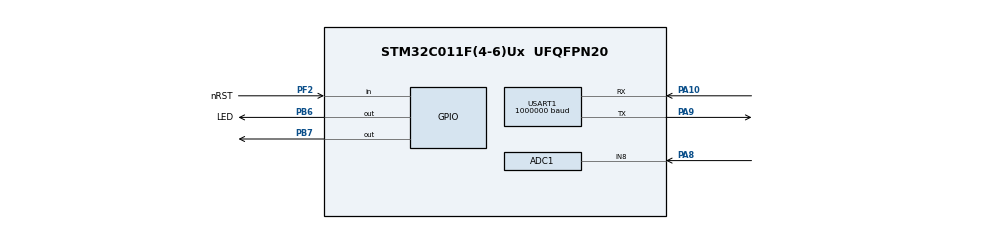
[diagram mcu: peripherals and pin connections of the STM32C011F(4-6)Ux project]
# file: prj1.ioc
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ADC1.Channel-0\#ChannelRegularConversion=ADC_CHANNEL_TEMPSENSOR
ADC1.NbrOfConversionFlag=1
ADC1.Rank-0\#ChannelRegularConversion=1
ADC1.SamplingTime-0\#ChannelRegularConversion=ADC_SAMPLINGTIME_COMMON_1
ADC1.SelectedChannel=ADC_CHANNEL_TEMPSENSOR|ADC_CHANNEL_VREFINT|ADC_CHANNEL_8
ADC1.master=1
Dma.ADC1.0.Direction=DMA_PERIPH_TO_MEMORY
Dma.ADC1.0.EventEnable=DISABLE
Dma.ADC1.0.Instance=DMA1_Channel1
Dma.ADC1.0.MemDataAlignment=DMA_MDATAALIGN_HALFWORD
Dma.ADC1.0.MemInc=DMA_MINC_ENABLE
Dma.ADC1.0.Mode=DMA_CIRCULAR
Dma.ADC1.0.PeriphDataAlignment=DMA_PDATAALIGN_HALFWORD
Dma.ADC1.0.PeriphInc=DMA_PINC_DISABLE
Dma.ADC1.0.Polarity=HAL_DMAMUX_REQ_GEN_RISING
Dma.ADC1.0.Priority=DMA_PRIORITY_LOW
Dma.ADC1.0.RequestNumber=1
Dma.ADC1.0.SignalID=NONE
Dma.ADC1.0.SyncEnable=DISABLE
Dma.ADC1.0.SyncPolarity=HAL_DMAMUX_SYNC_NO_EVENT
Dma.ADC1.0.SyncRequestNumber=1
Dma.ADC1.0.SyncSignalID=NONE
Dma.Request0=ADC1
Mcu.Family=STM32C0
Mcu.Name=STM32C011F(4-6)Ux
Mcu.Package=UFQFPN20
NVIC.ADC1_IRQn=true\:0\:0\:false\:false\:true\:true\:true\:true
NVIC.DMA1_Channel1_IRQn=true\:0\:0\:false\:false\:true\:false\:true\:true
NVIC.TIM1_BRK_UP_TRG_COM_IRQn=true\:0\:0\:false\:false\:true\:true\:true\:true
NVIC.USART1_IRQn=true\:0\:0\:false\:false\:true\:true\:true\:true
PA10\ [PA12].GPIO_FMPA10=SYSCFG_FASTMODEPLUS_PA10
PA10\ [PA12].GPIO_ModeDefaultPP=GPIO_MODE_AF_PP
PA10\ [PA12].GPIO_PuPd=GPIO_NOPULL
PA10\ [PA12].GPIO_Speed=GPIO_SPEED_FREQ_VERY_HIGH
PA10\ [PA12].Mode=Asynchronous
PA10\ [PA12].Signal=USART1_RX
PA13.Mode=Serial_Wire
PA13.Signal=DEBUG_SWDIO
PA14-BOOT0.Mode=Serial_Wire
PA14-BOOT0.Signal=DEBUG_SWCLK
PA8.Mode=IN8
PA8.Signal=ADC1_IN8
PA9\ [PA11].GPIO_FMPA9=SYSCFG_FASTMODEPLUS_PA9
PA9\ [PA11].GPIO_PuPd=GPIO_NOPULL
PA9\ [PA11].GPIO_Speed=GPIO_SPEED_FREQ_VERY_HIGH
PA9\ [PA11].Mode=Asynchronous
PA9\ [PA11].Signal=USART1_TX
PB6.GPIO_Label=LED
PB6.GPIO_Speed=GPIO_SPEED_FREQ_VERY_HIGH
PB6.PinState=GPIO_PIN_RESET
PB6.Signal=GPIO_Output
PB7.Signal=GPIO_Output
PF2-NRST.GPIO_Label=nRST
PF2-NRST.Signal=GPIO_Input
ProjectManager.HeapSize=0x200
ProjectManager.StackSize=0x400
ProjectManager.TargetToolchain=MDK-ARM V5.32
RCC.ADCFreq_Value=48000000
RCC.AHBFreq_Value=48000000
RCC.CortexFreq_Value=48000000
RCC.EXTERNAL_CLOCK_VALUE=12288000
RCC.HCLKFreq_Value=48000000
RCC.HSE_VALUE=8000000
RCC.HSISYSCLKDivider=RCC_HSI_DIV1
RCC.HSI_VALUE=48000000
RCC.LSE_VALUE=32768
RCC.SYSCLKFreq_VALUE=48000000
TIM1.Period=9
TIM1.Prescaler=47999
USART1.BaudRate=1000000
USART1.VirtualMode-Asynchronous=VM_ASYNC
VP_ADC1_TempSens_Input.Mode=IN-TempSens
VP_ADC1_Vref_Input.Mode=IN-Vrefint
VP_SYS_VS_PINREMAP.Mode=PINREMAP
VP_SYS_VS_PINREMAP_10_12.Mode=PINREMAP_10_12
VP_TIM1_VS_ClockSourceINT.Mode=Internal
board=STM32C0116-DK

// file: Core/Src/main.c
/* USER CODE BEGIN Header */
/**
  ******************************************************************************
  * @file           : main.c
  * @brief          : Main program body
  ******************************************************************************
  * @attention
  *
  * Copyright (c) 2023 STMicroelectronics.
  * All rights reserved.
  *
  * This software is licensed under terms that can be found in the LICENSE file
  * in the root directory of this software component.
  * If no LICENSE file comes with this software, it is provided AS-IS.
  *
  ******************************************************************************
  */
/* USER CODE END Header */
#include "main.h"
#include "adc.h"
#include "dma.h"
#include "tim.h"
#include "usart.h"
#include "gpio.h"

/* USER CODE BEGIN Includes */
#include <stdio.h>           //--add for printf

/* USER CODE END Includes */

/* USER CODE BEGIN PTD */

//#define TXMODE
#define RXMODE

extern volatile uint8_t flg_rx;
extern volatile uint8_t irxdata;

extern volatile uint8_t timer1_flag;

/* USER CODE END PTD */

/* USER CODE BEGIN PD */
/* Definitions of environment analog values */
  /* Value of analog reference voltage (Vref+), connected to analog voltage   */
  /* supply Vdda (unit: mV).                                                  */
  #define VDDA_APPLI                       (3300UL)

/* Definitions of data related to this example */
  /* Definition of ADCx conversions data table size */
  /* Size of array set to ADC sequencer number of ranks converted,            */
  /* to have a rank in each array address.                                    */
  #define ADC_CONVERTED_DATA_BUFFER_SIZE   (   3UL)

  /* Init variable out of expected ADC conversion data range */
  #define VAR_CONVERTED_DATA_INIT_VALUE    (__LL_ADC_DIGITAL_SCALE(LL_ADC_RESOLUTION_12B) + 1)

/* Definitions of internal temperature sensor */
#define INTERNAL_TEMPSENSOR_AVGSLOPE   ((int32_t) 2500)        /* Internal temperature sensor, parameter Avg_Slope (unit: uV/DegCelsius). Refer to device datasheet for min/typ/max values. */
#define INTERNAL_TEMPSENSOR_V30        ((((int32_t)*TEMPSENSOR_CAL1_ADDR) \
                                        * TEMPSENSOR_CAL_VREFANALOG) / __LL_ADC_DIGITAL_SCALE(LL_ADC_RESOLUTION_12B)) /* Internal temperature sensor, parameter V30 (unit: mV), using calibration data (alternate solution possible with datasheet parameter: V30=760mV typ for STM32C0) */
#define INTERNAL_TEMPSENSOR_V30_TEMP   (TEMPSENSOR_CAL1_TEMP)

/* USER CODE END PD */

/* USER CODE BEGIN PV */
//uint8_t ommo_mode = DEFAULT_MODE;
//uint8_t ommo_status = DEFAULT_STATUS;

/* Variables for ADC conversion data */
__IO uint16_t uhADCxConvertedData[ADC_CONVERTED_DATA_BUFFER_SIZE]; /* ADC group regular conversion data (array of data) */

/* Variables for ADC conversion data computation to physical values */
uint16_t uhADCxConvertedData_VoltageGPIO_mVolt = 0UL;        /* Value of voltage calculated from ADC conversion data (unit: mV) */
uint16_t uhADCxConvertedData_VrefInt_mVolt = 0UL;            /* Value of internal voltage reference VrefInt calculated from ADC conversion data (unit: mV) */
 int16_t hADCxConvertedData_Temperature_DegreeCelsius = 0UL; /* Value of temperature calculated from ADC conversion data (unit: degree Celsius) */
uint16_t uhADCxConvertedData_VrefAnalog_mVolt = 0UL;         /* Value of analog reference voltage (Vref+), connected to analog voltage supply Vdda, calculated from ADC conversion data (unit: mV) */

/* Variable to report status of DMA transfer of ADC group regular conversions */
/*  0: DMA transfer is not completed                                          */
/*  1: DMA transfer is completed                                              */
/*  2: DMA transfer has not yet been started yet (initial state)              */
__IO uint8_t ubDmaTransferStatus = 2U; /* Variable set into DMA interruption callback */

/* Variable to report number of ADC group regular sequence completed          */
uint32_t ubAdcGrpRegularSequenceConvCount = 0UL; /* Variable set into ADC interruption callback */

/* USER CODE END PV */

void SystemClock_Config(void);

/* USER CODE BEGIN 0 */

void iputs1(char *msg)
{
   while(*msg)
   Send_Data_To_UART1(*msg++);
}

void iputbytes1(uint8_t *msg, uint32_t ilen)
{
   while(ilen--)
   Send_Data_To_UART1(*msg++);
}

void Send_Data_To_UART1 (uint8_t c)
{

   USART1->TDR = c;

   while( (USART1-> ISR & (1<<7) ) ==0 );
}

/* USER CODE END 0 */

int main(void)
{

  /* MCU Configuration--------------------------------------------------------*/

  /* Reset of all peripherals, Initializes the Flash interface and the Systick. */
  HAL_Init();

  /* Configure the system clock */
  SystemClock_Config();

  /* USER CODE BEGIN SysInit */
  LL_RCC_ConfigMCO(LL_RCC_MCO1SOURCE_SYSCLK, LL_RCC_MCO1_DIV_4);//12Mhz = 48Mhz/4
  /* USER CODE END SysInit */

  /* Initialize all configured peripherals */
  MX_GPIO_Init();
  MX_DMA_Init();
  MX_TIM1_Init();
  MX_USART1_UART_Init();
  MX_ADC1_Init();
  /* USER CODE BEGIN 2 */

  iputs1("start...");

  /* Perform ADC calibration */
  if (HAL_ADCEx_Calibration_Start(&hadc1) != HAL_OK)
  {
    /* Calibration Error */
    Error_Handler();
  }

  /* Start ADC group regular conversion */
  /* Note: First start with DMA transfer initialization, following ones
           with basic ADC start. */
  if (HAL_ADC_Start_DMA(&hadc1,
                        (uint32_t *)uhADCxConvertedData,
                        ADC_CONVERTED_DATA_BUFFER_SIZE
                       ) != HAL_OK)
  {
    /* Error: ADC conversion start could not be performed */
    Error_Handler();
  }

  /* USER CODE END 2 */

  /* Infinite loop */
  /* USER CODE BEGIN WHILE */
  while (1)
  {
    LL_mDelay(1000);
    iputs1("run...");

    /* Start ADC group regular conversion */
    if (HAL_ADC_Start(&hadc1) != HAL_OK)
    {
      /* Error: ADC conversion start could not be performed */
      Error_Handler();
    }

    if(ubDmaTransferStatus == 1)
    {
      /* For this example purpose, calculate analog reference voltage (Vref+) */
      /* from ADC conversion of internal voltage reference VrefInt.           */
      /* This voltage should correspond to value of literal "VDDA_APPLI".     */
      /* Note: This calculation can be performed when value of voltage Vref+  */
      /*       is unknown in the application                                  */
      /*       (This is not the case in this example due to target board      */
      /*       supplied by a LDO regulator providing a known constant voltage */
      /*       of value "VDDA_APPLI").                                        */
      /*       In typical case of Vref+ connected to Vdd, it allows to        */
      /*       deduce Vdd value.                                              */
      uhADCxConvertedData_VrefAnalog_mVolt = __LL_ADC_CALC_VREFANALOG_VOLTAGE(uhADCxConvertedData[1], LL_ADC_RESOLUTION_12B);

      /* Computation of ADC conversions raw data to physical values           */
      /* using LL ADC driver helper macro.                                    */
      uhADCxConvertedData_VoltageGPIO_mVolt        = __LL_ADC_CALC_DATA_TO_VOLTAGE(uhADCxConvertedData_VrefAnalog_mVolt, uhADCxConvertedData[0], LL_ADC_RESOLUTION_12B);
      uhADCxConvertedData_VrefInt_mVolt            = __LL_ADC_CALC_DATA_TO_VOLTAGE(uhADCxConvertedData_VrefAnalog_mVolt, uhADCxConvertedData[1], LL_ADC_RESOLUTION_12B);
      hADCxConvertedData_Temperature_DegreeCelsius = __LL_ADC_CALC_TEMPERATURE_TYP_PARAMS(INTERNAL_TEMPSENSOR_AVGSLOPE,
                                                                                          INTERNAL_TEMPSENSOR_V30,
                                                                                          INTERNAL_TEMPSENSOR_V30_TEMP,
                                                                                          VDDA_APPLI,
                                                                                          uhADCxConvertedData[2],
                                                                                          LL_ADC_RESOLUTION_12B);

      /* Update status variable of DMA transfer */
      ubDmaTransferStatus = 0;

        char str1[30];
        sprintf(str1,"adc: %d %d %d\r\n",uhADCxConvertedData_VoltageGPIO_mVolt,
                       uhADCxConvertedData_VrefInt_mVolt,hADCxConvertedData_Temperature_DegreeCelsius);
        iputs1(str1);

      //HAL_Delay(500); /* Delay to highlight toggle sequence */
    }

    /* USER CODE END WHILE */

    /* USER CODE BEGIN 3 */
	  //ommo_timer1_task();

     if(timer1_flag==1)
     {
        //iputs1("t1 in");
        timer1_flag=0;
        //itimecount++;
     }

     if (flg_rx==1)
     {
        flg_rx=0;
        //USART1->TDR = irxdata; //0x32;

     }

#if (defined TXMODE)
   uint16_t isendnum=0;

   isendnum=256;
   while(isendnum--)
   Send_Data_To_UART1(255-isendnum);
#endif

     //if(itimecount>=10)
     {
        //itimecount=0;
        LL_GPIO_TogglePin( LED_GPIO_Port, LED_Pin);
        LL_GPIO_TogglePin( GPIOB, LL_GPIO_PIN_7);
     }

  }
  /* USER CODE END 3 */
}

void SystemClock_Config(void)
{

  LL_FLASH_SetLatency(LL_FLASH_LATENCY_1);

  /* HSI configuration and activation */
  LL_RCC_HSI_Enable();
  while(LL_RCC_HSI_IsReady() != 1)
  {
  }

  LL_RCC_HSI_SetCalibTrimming(64);
  LL_RCC_SetHSIDiv(LL_RCC_HSI_DIV_1);
  /* Set AHB prescaler*/
  LL_RCC_SetAHBPrescaler(LL_RCC_HCLK_DIV_1);

  /* Sysclk activation on the HSI */
  LL_RCC_SetSysClkSource(LL_RCC_SYS_CLKSOURCE_HSI);
  while(LL_RCC_GetSysClkSource() != LL_RCC_SYS_CLKSOURCE_STATUS_HSI)
  {
  }

  /* Set APB1 prescaler*/
  LL_RCC_SetAPB1Prescaler(LL_RCC_APB1_DIV_1);
  /* Update CMSIS variable (which can be updated also through SystemCoreClockUpdate function) */
  LL_SetSystemCoreClock(48000000);

   /* Update the time base */
  if (HAL_InitTick (TICK_INT_PRIORITY) != HAL_OK)
  {
    Error_Handler();
  }
}

/* USER CODE BEGIN 4 */

/******************************************************************************/
/*   USER IRQ HANDLER TREATMENT                                               */
/******************************************************************************/

/**
  * @brief  DMA transfer complete callback
  * @note   This function is executed when the transfer complete interrupt
  *         is generated
  * @retval None
  */
void HAL_ADC_ConvCpltCallback(ADC_HandleTypeDef *hadc)
{
  /* Update status variable of DMA transfer */
  ubDmaTransferStatus = 1;
}

/**
  * @brief  ADC error interruption callback
  * @retval None
  */
void HAL_ADC_ErrorCallback(ADC_HandleTypeDef *hadc)
{
  /* Note: Disable ADC interruption that caused this error before entering in
           infinite loop below. */

  /* In case of error due to overrun: Disable ADC group regular overrun interruption */
  LL_ADC_DisableIT_OVR(ADC1);

  /* Error reporting */
  Error_Handler();
}

/* USER CODE END 4 */

void Error_Handler(void)
{
  __disable_irq();
  while (1)
  {
  }
}
